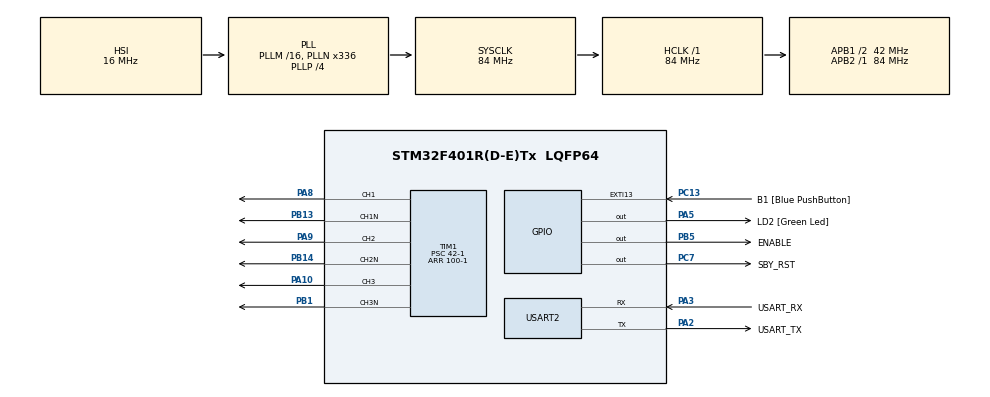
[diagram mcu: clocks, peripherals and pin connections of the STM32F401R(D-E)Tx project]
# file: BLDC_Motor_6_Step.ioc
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Mcu.Family=STM32F4
Mcu.Name=STM32F401R(D-E)Tx
Mcu.Package=LQFP64
NVIC.PriorityGroup=NVIC_PRIORITYGROUP_0
NVIC.TIM1_TRG_COM_TIM11_IRQn=true\:0\:0\:false\:false\:true\:true\:true
PA10.Signal=S_TIM1_CH3
PA13.GPIO_Label=TMS
PA13.Mode=Serial_Wire
PA13.Signal=SYS_JTMS-SWDIO
PA14.GPIO_Label=TCK
PA14.Mode=Serial_Wire
PA14.Signal=SYS_JTCK-SWCLK
PA2.GPIO_Label=USART_TX
PA2.GPIO_Mode=GPIO_MODE_AF_PP
PA2.GPIO_PuPd=GPIO_NOPULL
PA2.GPIO_Speed=GPIO_SPEED_FREQ_LOW
PA2.Mode=Asynchronous
PA2.Signal=USART2_TX
PA3.GPIO_Label=USART_RX
PA3.GPIO_Mode=GPIO_MODE_AF_PP
PA3.GPIO_PuPd=GPIO_NOPULL
PA3.GPIO_Speed=GPIO_SPEED_FREQ_LOW
PA3.Mode=Asynchronous
PA3.Signal=USART2_RX
PA5.GPIO_Label=LD2 [Green Led]
PA5.GPIO_Mode=GPIO_MODE_OUTPUT_PP
PA5.GPIO_PuPd=GPIO_NOPULL
PA5.GPIO_Speed=GPIO_SPEED_FREQ_LOW
PA5.Signal=GPIO_Output
PA8.Signal=S_TIM1_CH1
PA9.Signal=S_TIM1_CH2
PB1.Mode=PWM Generation3 CH3 CH3N
PB1.Signal=TIM1_CH3N
PB13.Mode=PWM Generation1 CH1 CH1N
PB13.Signal=TIM1_CH1N
PB14.Mode=PWM Generation2 CH2 CH2N
PB14.Signal=TIM1_CH2N
PB3.GPIO_Label=SWO
PB3.Signal=SYS_JTDO-SWO
PB5.GPIO_Label=ENABLE
PB5.PinState=GPIO_PIN_SET
PB5.Signal=GPIO_Output
PC13-ANTI_TAMP.GPIO_Label=B1 [Blue PushButton]
PC13-ANTI_TAMP.GPIO_ModeDefaultEXTI=GPIO_MODE_IT_FALLING
PC13-ANTI_TAMP.GPIO_PuPd=GPIO_NOPULL
PC13-ANTI_TAMP.Signal=GPXTI13
PC14-OSC32_IN.Mode=LSE-External-Oscillator
PC14-OSC32_IN.Signal=RCC_OSC32_IN
PC15-OSC32_OUT.Mode=LSE-External-Oscillator
PC15-OSC32_OUT.Signal=RCC_OSC32_OUT
PC7.GPIO_Label=SBY_RST
PC7.GPIO_ModeDefaultOutputPP=GPIO_MODE_OUTPUT_OD
PC7.PinState=GPIO_PIN_SET
PC7.Signal=GPIO_Output
PH0\ -\ OSC_IN.Mode=HSE-External-Clock-Source
PH0\ -\ OSC_IN.Signal=RCC_OSC_IN
PH1\ -\ OSC_OUT.Mode=HSE-External-Clock-Source
PH1\ -\ OSC_OUT.Signal=RCC_OSC_OUT
ProjectManager.HeapSize=0x200
ProjectManager.StackSize=0x400
ProjectManager.TargetToolchain=STM32CubeIDE
RCC.48MHZClocksFreq_Value=48000000
RCC.AHBFreq_Value=84000000
RCC.APB1CLKDivider=RCC_HCLK_DIV2
RCC.APB1Freq_Value=42000000
RCC.APB1TimFreq_Value=84000000
RCC.APB2Freq_Value=84000000
RCC.APB2TimFreq_Value=84000000
RCC.CortexFreq_Value=84000000
RCC.HCLKFreq_Value=84000000
RCC.HSE_VALUE=8000000
RCC.HSI_VALUE=16000000
RCC.PLLN=336
RCC.PLLP=RCC_PLLP_DIV4
RCC.PLLQ=7
RCC.SYSCLKFreq_VALUE=84000000
RCC.SYSCLKSource=RCC_SYSCLKSOURCE_PLLCLK
RCC.VCOOutputFreq_Value=336000000
SH.S_TIM1_CH1.0=TIM1_CH1,PWM Generation1 CH1 CH1N
SH.S_TIM1_CH2.0=TIM1_CH2,PWM Generation2 CH2 CH2N
SH.S_TIM1_CH3.0=TIM1_CH3,PWM Generation3 CH3 CH3N
TIM1.AutomaticOutput=TIM_AUTOMATICOUTPUT_ENABLE
TIM1.BreakState=TIM_BREAK_ENABLE
TIM1.Channel-PWM\ Generation1\ CH1\ CH1N=TIM_CHANNEL_1
TIM1.Channel-PWM\ Generation2\ CH2\ CH2N=TIM_CHANNEL_2
TIM1.Channel-PWM\ Generation3\ CH3\ CH3N=TIM_CHANNEL_3
TIM1.CounterMode=TIM_COUNTERMODE_CENTERALIGNED1
TIM1.DeadTime=16
TIM1.OCIdleState_1=TIM_OCIDLESTATE_RESET
TIM1.OCIdleState_2=TIM_OCIDLESTATE_RESET
TIM1.OCIdleState_3=TIM_OCIDLESTATE_RESET
TIM1.OCNIdleState_1=TIM_OCNIDLESTATE_RESET
TIM1.OCNIdleState_2=TIM_OCNIDLESTATE_RESET
TIM1.OCNIdleState_3=TIM_OCNIDLESTATE_RESET
TIM1.OffStateIDLEMode=TIM_OSSI_ENABLE
TIM1.OffStateRunMode=TIM_OSSR_ENABLE
TIM1.Period=100-1
TIM1.Prescaler=42-1
TIM1.TIM_MasterSlaveMode=TIM_MASTERSLAVEMODE_DISABLE
TIM3.Channel-Output\ Compare1\ No\ Output=TIM_CHANNEL_1
TIM3.Period=1000-1
TIM3.Prescaler=8400-1
TIM3.TIM_MasterOutputTrigger=TIM_TRGO_UPDATE
TIM3.TIM_MasterSlaveMode=TIM_MASTERSLAVEMODE_ENABLE
USART2.VirtualMode=VM_ASYNC
VP_TIM3_VS_no_output1.Mode=Output Compare1 No Output
board=NUCLEO-F401RE

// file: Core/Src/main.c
/* USER CODE BEGIN Header */
/**
  ******************************************************************************
  * @file           : main.c
  * @brief          : Main program body
  ******************************************************************************
  * @attention
  *
  * <h2><center>&copy; Copyright (c) 2021 STMicroelectronics.
  * All rights reserved.</center></h2>
  *
  * This software component is licensed by ST under BSD 3-Clause license,
  * the "License"; You may not use this file except in compliance with the
  * License. You may obtain a copy of the License at:
  *                        opensource.org/licenses/BSD-3-Clause
  *
  ******************************************************************************
  */
/* USER CODE END Header */
#include "main.h"

TIM_HandleTypeDef htim1;
TIM_HandleTypeDef htim3;

UART_HandleTypeDef huart2;

void SystemClock_Config(void);
static void MX_GPIO_Init(void);
static void MX_USART2_UART_Init(void);
static void MX_TIM1_Init(void);
static void MX_TIM3_Init(void);

int main(void)
{

  /* MCU Configuration--------------------------------------------------------*/

  /* Reset of all peripherals, Initializes the Flash interface and the Systick. */
  HAL_Init();

  /* Configure the system clock */
  SystemClock_Config();

  /* Initialize all configured peripherals */
  MX_GPIO_Init();
  MX_USART2_UART_Init();
  MX_TIM1_Init();
  MX_TIM3_Init();
  /* USER CODE BEGIN 2 */
  uint32_t time = HAL_GetTick();
  uint32_t max_time = 3000;
  uint32_t dir = CW;
  uint32_t speed = 10;

  bldc_motor_init(&htim1, &htim3);
  bldc_motor_set_speed(speed, dir);

  /* USER CODE END 2 */

  /* Infinite loop */
  /* USER CODE BEGIN WHILE */
  while (1)
  {
	  if((HAL_GetTick() - time) > max_time)
	  {
		  time = HAL_GetTick();

		  if(CW == dir)
			  dir = CCW;
		  else if(CCW == dir)
			  dir = CW;

		  bldc_motor_set_speed(speed, dir);
	  }
    /* USER CODE END WHILE */

  }
}

void SystemClock_Config(void)
{
  RCC_OscInitTypeDef RCC_OscInitStruct = {0};
  RCC_ClkInitTypeDef RCC_ClkInitStruct = {0};

  /** Configure the main internal regulator output voltage
  */
  __HAL_RCC_PWR_CLK_ENABLE();
  __HAL_PWR_VOLTAGESCALING_CONFIG(PWR_REGULATOR_VOLTAGE_SCALE2);
  /** Initializes the RCC Oscillators according to the specified parameters
  * in the RCC_OscInitTypeDef structure.
  */
  RCC_OscInitStruct.OscillatorType = RCC_OSCILLATORTYPE_HSI;
  RCC_OscInitStruct.HSIState = RCC_HSI_ON;
  RCC_OscInitStruct.HSICalibrationValue = RCC_HSICALIBRATION_DEFAULT;
  RCC_OscInitStruct.PLL.PLLState = RCC_PLL_ON;
  RCC_OscInitStruct.PLL.PLLSource = RCC_PLLSOURCE_HSI;
  RCC_OscInitStruct.PLL.PLLM = 16;
  RCC_OscInitStruct.PLL.PLLN = 336;
  RCC_OscInitStruct.PLL.PLLP = RCC_PLLP_DIV4;
  RCC_OscInitStruct.PLL.PLLQ = 7;
  if (HAL_RCC_OscConfig(&RCC_OscInitStruct) != HAL_OK)
  {
    Error_Handler();
  }
  /** Initializes the CPU, AHB and APB buses clocks
  */
  RCC_ClkInitStruct.ClockType = RCC_CLOCKTYPE_HCLK|RCC_CLOCKTYPE_SYSCLK
                              |RCC_CLOCKTYPE_PCLK1|RCC_CLOCKTYPE_PCLK2;
  RCC_ClkInitStruct.SYSCLKSource = RCC_SYSCLKSOURCE_PLLCLK;
  RCC_ClkInitStruct.AHBCLKDivider = RCC_SYSCLK_DIV1;
  RCC_ClkInitStruct.APB1CLKDivider = RCC_HCLK_DIV2;
  RCC_ClkInitStruct.APB2CLKDivider = RCC_HCLK_DIV1;

  if (HAL_RCC_ClockConfig(&RCC_ClkInitStruct, FLASH_LATENCY_2) != HAL_OK)
  {
    Error_Handler();
  }
}

static void MX_TIM1_Init(void)
{

  TIM_MasterConfigTypeDef sMasterConfig = {0};
  TIM_OC_InitTypeDef sConfigOC = {0};
  TIM_BreakDeadTimeConfigTypeDef sBreakDeadTimeConfig = {0};

  htim1.Instance = TIM1;
  htim1.Init.Prescaler = 42-1;
  htim1.Init.CounterMode = TIM_COUNTERMODE_CENTERALIGNED1;
  htim1.Init.Period = 100-1;
  htim1.Init.ClockDivision = TIM_CLOCKDIVISION_DIV1;
  htim1.Init.RepetitionCounter = 0;
  htim1.Init.AutoReloadPreload = TIM_AUTORELOAD_PRELOAD_DISABLE;
  if (HAL_TIM_PWM_Init(&htim1) != HAL_OK)
  {
    Error_Handler();
  }
  sMasterConfig.MasterOutputTrigger = TIM_TRGO_RESET;
  sMasterConfig.MasterSlaveMode = TIM_MASTERSLAVEMODE_DISABLE;
  if (HAL_TIMEx_MasterConfigSynchronization(&htim1, &sMasterConfig) != HAL_OK)
  {
    Error_Handler();
  }
  sConfigOC.OCMode = TIM_OCMODE_PWM1;
  sConfigOC.Pulse = 0;
  sConfigOC.OCPolarity = TIM_OCPOLARITY_HIGH;
  sConfigOC.OCNPolarity = TIM_OCNPOLARITY_HIGH;
  sConfigOC.OCFastMode = TIM_OCFAST_DISABLE;
  sConfigOC.OCIdleState = TIM_OCIDLESTATE_RESET;
  sConfigOC.OCNIdleState = TIM_OCNIDLESTATE_RESET;
  if (HAL_TIM_PWM_ConfigChannel(&htim1, &sConfigOC, TIM_CHANNEL_1) != HAL_OK)
  {
    Error_Handler();
  }
  if (HAL_TIM_PWM_ConfigChannel(&htim1, &sConfigOC, TIM_CHANNEL_2) != HAL_OK)
  {
    Error_Handler();
  }
  if (HAL_TIM_PWM_ConfigChannel(&htim1, &sConfigOC, TIM_CHANNEL_3) != HAL_OK)
  {
    Error_Handler();
  }
  sBreakDeadTimeConfig.OffStateRunMode = TIM_OSSR_ENABLE;
  sBreakDeadTimeConfig.OffStateIDLEMode = TIM_OSSI_ENABLE;
  sBreakDeadTimeConfig.LockLevel = TIM_LOCKLEVEL_OFF;
  sBreakDeadTimeConfig.DeadTime = 16;
  sBreakDeadTimeConfig.BreakState = TIM_BREAK_ENABLE;
  sBreakDeadTimeConfig.BreakPolarity = TIM_BREAKPOLARITY_HIGH;
  sBreakDeadTimeConfig.AutomaticOutput = TIM_AUTOMATICOUTPUT_ENABLE;
  if (HAL_TIMEx_ConfigBreakDeadTime(&htim1, &sBreakDeadTimeConfig) != HAL_OK)
  {
    Error_Handler();
  }
  HAL_TIM_MspPostInit(&htim1);

}

static void MX_TIM3_Init(void)
{

  TIM_MasterConfigTypeDef sMasterConfig = {0};
  TIM_OC_InitTypeDef sConfigOC = {0};

  htim3.Instance = TIM3;
  htim3.Init.Prescaler = 8400-1;
  htim3.Init.CounterMode = TIM_COUNTERMODE_UP;
  htim3.Init.Period = 1000-1;
  htim3.Init.ClockDivision = TIM_CLOCKDIVISION_DIV1;
  htim3.Init.AutoReloadPreload = TIM_AUTORELOAD_PRELOAD_DISABLE;
  if (HAL_TIM_OC_Init(&htim3) != HAL_OK)
  {
    Error_Handler();
  }
  sMasterConfig.MasterOutputTrigger = TIM_TRGO_UPDATE;
  sMasterConfig.MasterSlaveMode = TIM_MASTERSLAVEMODE_ENABLE;
  if (HAL_TIMEx_MasterConfigSynchronization(&htim3, &sMasterConfig) != HAL_OK)
  {
    Error_Handler();
  }
  sConfigOC.OCMode = TIM_OCMODE_TIMING;
  sConfigOC.Pulse = 0;
  sConfigOC.OCPolarity = TIM_OCPOLARITY_HIGH;
  sConfigOC.OCFastMode = TIM_OCFAST_DISABLE;
  if (HAL_TIM_OC_ConfigChannel(&htim3, &sConfigOC, TIM_CHANNEL_1) != HAL_OK)
  {
    Error_Handler();
  }

}

static void MX_USART2_UART_Init(void)
{

  huart2.Instance = USART2;
  huart2.Init.BaudRate = 115200;
  huart2.Init.WordLength = UART_WORDLENGTH_8B;
  huart2.Init.StopBits = UART_STOPBITS_1;
  huart2.Init.Parity = UART_PARITY_NONE;
  huart2.Init.Mode = UART_MODE_TX_RX;
  huart2.Init.HwFlowCtl = UART_HWCONTROL_NONE;
  huart2.Init.OverSampling = UART_OVERSAMPLING_16;
  if (HAL_UART_Init(&huart2) != HAL_OK)
  {
    Error_Handler();
  }

}

static void MX_GPIO_Init(void)
{
  GPIO_InitTypeDef GPIO_InitStruct = {0};

  /* GPIO Ports Clock Enable */
  __HAL_RCC_GPIOC_CLK_ENABLE();
  __HAL_RCC_GPIOH_CLK_ENABLE();
  __HAL_RCC_GPIOA_CLK_ENABLE();
  __HAL_RCC_GPIOB_CLK_ENABLE();

  /*Configure GPIO pin Output Level */
  HAL_GPIO_WritePin(LD2_GPIO_Port, LD2_Pin, GPIO_PIN_RESET);

  /*Configure GPIO pin Output Level */
  HAL_GPIO_WritePin(SBY_RST_GPIO_Port, SBY_RST_Pin, GPIO_PIN_SET);

  /*Configure GPIO pin Output Level */
  HAL_GPIO_WritePin(ENABLE_GPIO_Port, ENABLE_Pin, GPIO_PIN_SET);

  /*Configure GPIO pin : B1_Pin */
  GPIO_InitStruct.Pin = B1_Pin;
  GPIO_InitStruct.Mode = GPIO_MODE_IT_FALLING;
  GPIO_InitStruct.Pull = GPIO_NOPULL;
  HAL_GPIO_Init(B1_GPIO_Port, &GPIO_InitStruct);

  /*Configure GPIO pin : LD2_Pin */
  GPIO_InitStruct.Pin = LD2_Pin;
  GPIO_InitStruct.Mode = GPIO_MODE_OUTPUT_PP;
  GPIO_InitStruct.Pull = GPIO_NOPULL;
  GPIO_InitStruct.Speed = GPIO_SPEED_FREQ_LOW;
  HAL_GPIO_Init(LD2_GPIO_Port, &GPIO_InitStruct);

  /*Configure GPIO pin : SBY_RST_Pin */
  GPIO_InitStruct.Pin = SBY_RST_Pin;
  GPIO_InitStruct.Mode = GPIO_MODE_OUTPUT_OD;
  GPIO_InitStruct.Pull = GPIO_NOPULL;
  GPIO_InitStruct.Speed = GPIO_SPEED_FREQ_LOW;
  HAL_GPIO_Init(SBY_RST_GPIO_Port, &GPIO_InitStruct);

  /*Configure GPIO pin : ENABLE_Pin */
  GPIO_InitStruct.Pin = ENABLE_Pin;
  GPIO_InitStruct.Mode = GPIO_MODE_OUTPUT_PP;
  GPIO_InitStruct.Pull = GPIO_NOPULL;
  GPIO_InitStruct.Speed = GPIO_SPEED_FREQ_LOW;
  HAL_GPIO_Init(ENABLE_GPIO_Port, &GPIO_InitStruct);

}

/* USER CODE BEGIN 4 */
void HAL_TIMEx_CommutCallback(TIM_HandleTypeDef *htim)
{
	bldc_motor_six_step_algorithm();
}
/* USER CODE END 4 */

void Error_Handler(void)
{
  __disable_irq();
  while (1)
  {
  }
}

/************************ (C) COPYRIGHT STMicroelectronics *****END OF FILE****/
